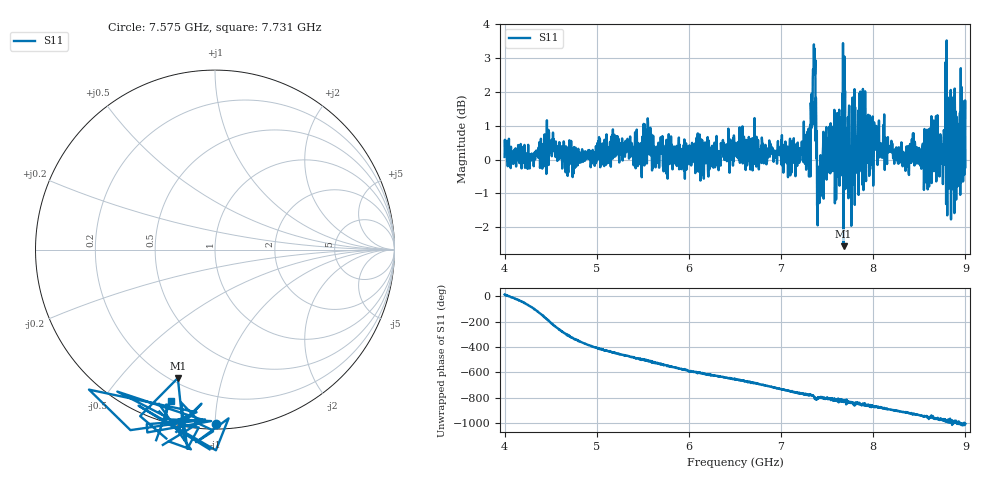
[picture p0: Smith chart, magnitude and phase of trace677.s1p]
! Created with skrf 1.8.0 (http://scikit-rf.org).
# Hz S RI R 50.0
!freq ReS11 ImS11
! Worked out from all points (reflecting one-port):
!   1601 points, 4 GHz to 9 GHz, reference 50 ohm
!   lowest |S11| = -2.6 dB at 7.678 GHz (marker M1), VSWR 6.84, Z = 11.3 - j36.3 ohm
!   phase of S11 starts at 14 deg and turns -1019 deg over the sweep
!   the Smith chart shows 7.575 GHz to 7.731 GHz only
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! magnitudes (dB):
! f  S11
! 4 GHz  0.1
! 4.625 GHz  -0.3
! 5.25 GHz  0.4
! 5.875 GHz  0.0
! 6.5 GHz  0.4
! 7.125 GHz  0.4
! 7.294 GHz  -0.2
! 7.316 GHz  1.0
! 7.347 GHz  2.7
! 7.369 GHz  2.5
! 7.4 GHz  -0.4
! 7.416 GHz  -1.3
! 7.503 GHz  0.6
! 7.588 GHz  0.0
! 7.647 GHz  1.0
! 7.678 GHz  -2.6
! 7.75 GHz  -0.1
! 7.769 GHz  -0.7
! 7.862 GHz  -0.2
! 8.009 GHz  1.1
! 8.375 GHz  -0.2
! 8.603 GHz  -0.1
! 8.656 GHz  1.2
! 8.756 GHz  -0.7
! 8.816 GHz  -0.6
! 8.869 GHz  -0.1
! 8.972 GHz  1.0
! 9 GHz  -0.2
